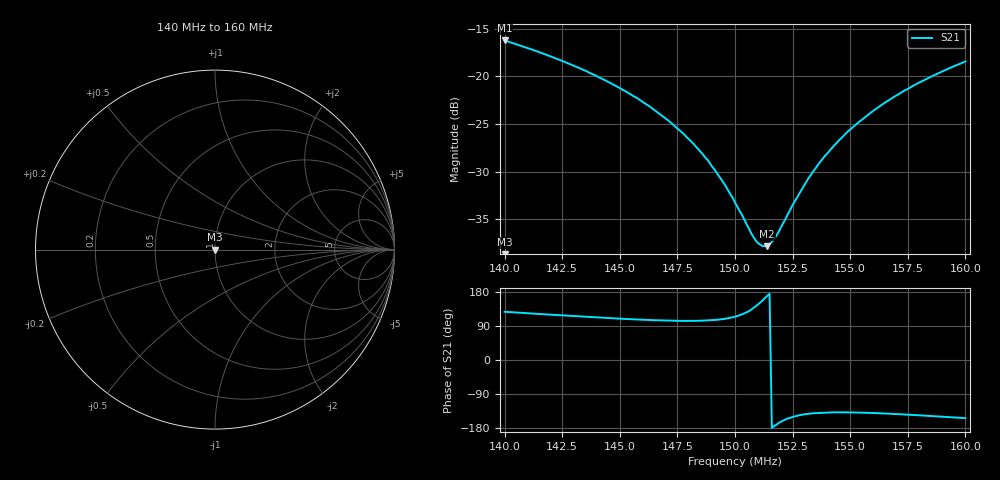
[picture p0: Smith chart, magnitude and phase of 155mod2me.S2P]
!Agilent Technologies,E5072A,MY51200456,A.01.14
!Date: Tue Nov 19 12:29:48 2019
!Data & Calibration Information:
!Freq	S11:NONE(--)	S21:NONE(--)	S12:NONE(--)	S22:NONE(--)
!PortZ  Port1:50+j0  Port2:50+j0
!Above PortZ is port z conversion or system Z0 setting when saving the data.
!When reading, reference impedance value at option line is always used.
# Hz S RI R 50
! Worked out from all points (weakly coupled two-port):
!   201 points, 140 MHz to 160 MHz, reference 50 ohm
!   highest |S21| = -16.22 dB at 140 MHz (marker M1); lowest = -37.8 dB at 151.4 MHz (marker M2)
!   lowest |S11| = - dB at 140 MHz (marker M3), VSWR 1.00, Z = 50 + j0 ohm
!   |S11| at or under -10 dB: start of sweep to end of sweep
!   S12 and S22 are empty: the file has one direction only
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1.4e8  0 0  -0.0937 0.123  0 0  0 0
1.42e8  0 0  -0.0628 0.111  0 0  0 0
1.434e8  0 0  -0.0449 0.0987  0 0  0 0
1.453e8  0 0  -0.0259 0.0788  0 0  0 0
1.467e8  0 0  -0.0162 0.0619  0 0  0 0
1.477e8  0 0  -0.0116 0.0495  0 0  0 0
1.486e8  0 0  -0.00921 0.038  0 0  0 0
1.493e8  0 0  -0.00864 0.0288  0 0  0 0
1.5e8  0 0  -0.00891 0.0198  0 0  0 0
1.509e8  0 0  -0.0108 0.00851  0 0  0 0
1.512e8  0 0  -0.0118 0.00498  0 0  0 0
1.514e8  0 0  -0.0126 0.00242  0 0  0 0
1.516e8  0 0  -0.0135 -0.000201  0 0  0 0
1.518e8  0 0  -0.0144 -0.00232  0 0  0 0
1.525e8  0 0  -0.0183 -0.0105  0 0  0 0
1.534e8  0 0  -0.0245 -0.0202  0 0  0 0
1.539e8  0 0  -0.0288 -0.0251  0 0  0 0
1.549e8  0 0  -0.0384 -0.0341  0 0  0 0
1.56e8  0 0  -0.0504 -0.0426  0 0  0 0
1.567e8  0 0  -0.0591 -0.0465  0 0  0 0
1.58e8  0 0  -0.077 -0.0521  0 0  0 0
1.6e8  0 0  -0.1072 -0.0536  0 0  0 0
